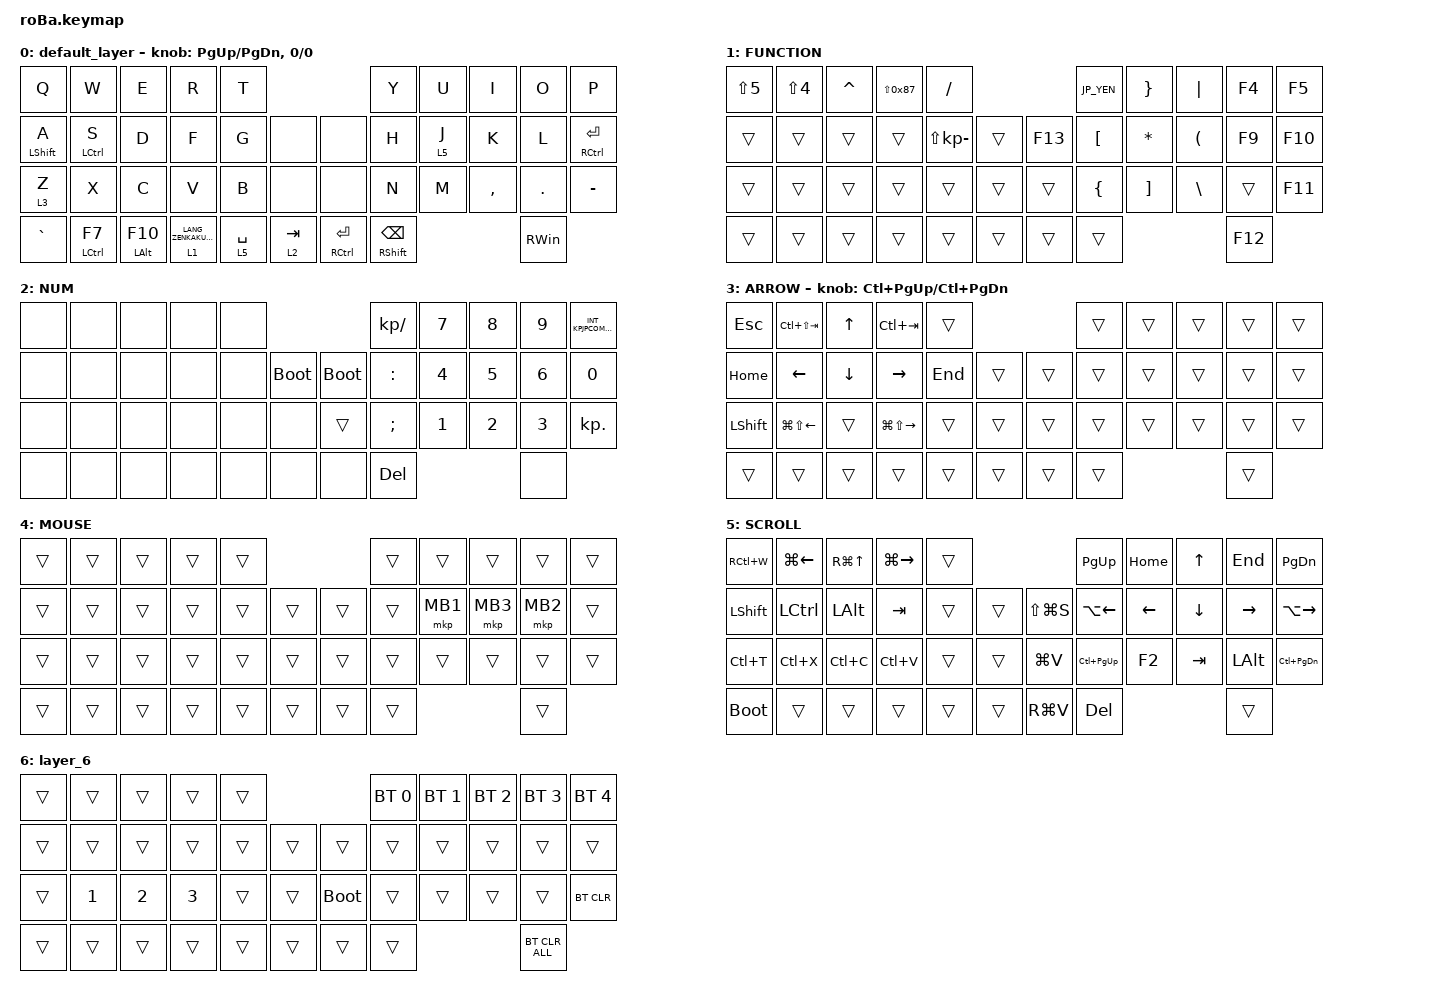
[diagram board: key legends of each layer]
#include <behaviors.dtsi>
#include <dt-bindings/zmk/bt.h>
#include <dt-bindings/zmk/keys.h>
#include <dt-bindings/zmk/pointing.h>

#define MOUSE 4
#define SCROLL 5
#define NUM 6

// OS設定を日本語キーボードのまま使用するための変換定義
#define JP_DQUOTE       AT                // 
#define JP_AMPERSAND    CARET             // &
#define JP_QUOTE        AMPERSAND         // '
#define JP_EQUAL        UNDER             // =
#define JP_CARET        EQUAL             // ^
#define JP_YEN          0x89              // ¥
#define JP_PLUS         COLON             // +
#define JP_TILDE        PLUS              // ~
#define JP_PIPE         LS(0x89)          // 
#define JP_AT           LEFT_BRACKET      // @
#define JP_COLON        SINGLE_QUOTE      // :
#define JP_ASTERISK     DOUBLE_QUOTES     // *
#define JP_BACKQUOTE    LEFT_BRACE        // `
#define JP_UNDERSCORE   LS(0x87)          // _
#define JP_LBRACKET     RIGHT_BRACKET     // [
#define JP_RBRACKET     BACKSLASH         // ]
#define JP_LPAREN       ASTERISK          // (
#define JP_RPAREN       LEFT_PARENTHESIS  // )
#define JP_LBRACE       RIGHT_BRACE       // {
#define JP_RBRACE       PIPE              // }
#define JP_KANA         LANGUAGE_1        // かな
#define JP_EISU         LANGUAGE_2        // 英数
#define JP_HANZEN       GRAVE             // 半角/全角

/ {
    combos {
        compatible = "zmk,combos";

        tab {
            bindings = <&mkp MB2>;
            key-positions = <19 20>;
        };

        shift_tab {
            bindings = <&mkp MB1>;
            key-positions = <7 8>;
        };
    };

    keymap {
        compatible = "zmk,keymap";

        default_layer {
            bindings = <
&kp Q                    &kp W         &kp E             &kp R                      &kp T                                        &kp Y                      &kp U    &kp I      &kp O    &kp P
&mt LEFT_SHIFT A         &mt LCTRL S   &kp D             &kp F                      &kp G        &none          &none            &kp H                      &lt 5 J  &kp K      &kp L    &mt RCTRL ENTER
&lt 3 Z                  &kp X         &kp C             &kp V                      &kp B        &none          &none            &kp N                      &kp M    &kp COMMA  &kp DOT  &kp MINUS
&kp JP_HANZEN   &mt LCTRL F7  &mt LEFT_ALT F10  &lt 1 LANG_ZENKAKUHANKAKU  &lt 5 SPACE  &lt 2 TAB      &mt RCTRL ENTER  &mt RIGHT_SHIFT BACKSPACE                               &kp RIGHT_WIN
            >;

            sensor-bindings = <&inc_dec_kp PG_UP PAGE_DOWN>, <&inc_dec_kp 0 0>;
        };

        FUNCTION {
            bindings = <
&kp LS(N5)  &kp LS(N4)  &kp JP_AMPERSAND   &kp JP_UNDERSCORE  &kp SLASH                              &kp JP_YEN   &kp JP_LBRACE   &kp JP_RBRACE   &kp F4  &kp F5
&trans      &trans      &trans      &trans               &kp LS(KP_MINUS)  &trans      &kp F13  &kp JP_AT     &kp JP_LPAREN   &kp JP_RPAREN   &kp F9  &kp F10
&trans      &trans      &trans      &trans               &trans            &trans      &trans   &kp JP_BACKQUOTE    &kp JP_LBRACKET   &kp JP_RBRACKET   &trans  &kp F11
&trans      &trans      &trans      &trans               &trans            &trans      &trans   &trans                            &kp F12
            >;
        };

        NUM {
            bindings = <
&none  &none  &none  &none  &none                     &kp KP_SLASH   &kp N7        &kp N8        &kp N9        &kp INT_KPJPCOMMA
&none  &none  &none  &none  &none  &bootloader      &bootloader   &kp COLON      &kp NUMBER_4  &kp N5        &kp NUMBER_6  &kp N0
&none  &none  &none  &none  &none  &none      &trans  &kp SEMICOLON  &kp NUMBER_1  &kp NUMBER_2  &kp NUMBER_3  &kp KP_DOT
&none  &none  &none  &none  &none  &none      &none   &kp DELETE                                               &none
            >;
        };

        ARROW {
            bindings = <
&kp ESCAPE      &kp LC(LS(TAB))         &kp UP_ARROW    &kp LC(TAB)              &trans                       &trans  &trans  &trans  &trans  &trans
&kp HOME        &kp LEFT_ARROW          &kp DOWN_ARROW  &kp RIGHT_ARROW          &kp END  &trans      &trans  &trans  &trans  &trans  &trans  &trans
&kp LEFT_SHIFT  &kp LG(LS(LEFT_ARROW))  &trans          &kp LG(LS(RIGHT_ARROW))  &trans   &trans      &trans  &trans  &trans  &trans  &trans  &trans
&trans          &trans                  &trans          &trans                   &trans   &trans      &trans  &trans                          &trans
            >;

            sensor-bindings = <&inc_dec_kp LC(PAGE_UP) LC(PAGE_DOWN)>;
        };

        MOUSE {
            bindings = <
&trans  &trans  &trans  &trans  &trans                      &trans  &trans    &trans    &trans    &trans
&trans  &trans  &trans  &trans  &trans  &trans      &trans  &trans  &mkp MB1  &mkp MB3  &mkp MB2  &trans
&trans  &trans  &trans  &trans  &trans  &trans      &trans  &trans  &trans    &trans    &trans    &trans
&trans  &trans  &trans  &trans  &trans  &trans      &trans  &trans                                &trans
            >;
        };

        SCROLL {
            bindings = <
&kp RC(W)       &kp LG(LEFT_ARROW)  &kp RG(UP_ARROW)  &kp LG(RIGHT_ARROW)  &trans                             &kp PAGE_UP         &kp HOME        &kp UP_ARROW    &kp END          &kp PAGE_DOWN
&kp LEFT_SHIFT  &kp LCTRL           &kp LEFT_ALT      &kp TAB              &trans  &trans      &kp LS(LG(S))  &kp LA(LEFT_ARROW)  &kp LEFT_ARROW  &kp DOWN_ARROW  &kp RIGHT_ARROW  &kp LA(RIGHT_ARROW)
&kp LC(T)       &kp LC(X)           &kp LC(C)         &kp LC(V)            &trans  &trans      &kp LG(V)      &kp LC(PAGE_UP)     &kp F2          &kp TAB         &kp LEFT_ALT     &kp LC(PAGE_DOWN)
&bootloader          &trans              &trans            &trans               &trans  &trans      &kp RG(V)      &kp DELETE                                                           &trans
            >;
        };

        layer_6 {
            bindings = <
&trans  &trans        &trans        &trans        &trans                           &bt BT_SEL 0  &bt BT_SEL 1  &bt BT_SEL 2  &bt BT_SEL 3  &bt BT_SEL 4
&trans  &trans        &trans        &trans        &trans  &trans      &trans       &trans        &trans        &trans        &trans        &trans
&trans  &kp NUMBER_1  &kp NUMBER_2  &kp NUMBER_3  &trans  &trans      &bootloader  &trans        &trans        &trans        &trans        &bt BT_CLR
&trans  &trans        &trans        &trans        &trans  &trans      &trans       &trans                                                  &bt BT_CLR_ALL
            >;
        };
    };
};

&mt {
    tapping-term-ms = <400>; // This is the value already set by default
};

&lt {
    tapping-term-ms = <400>; // This is the value already set by default
};
